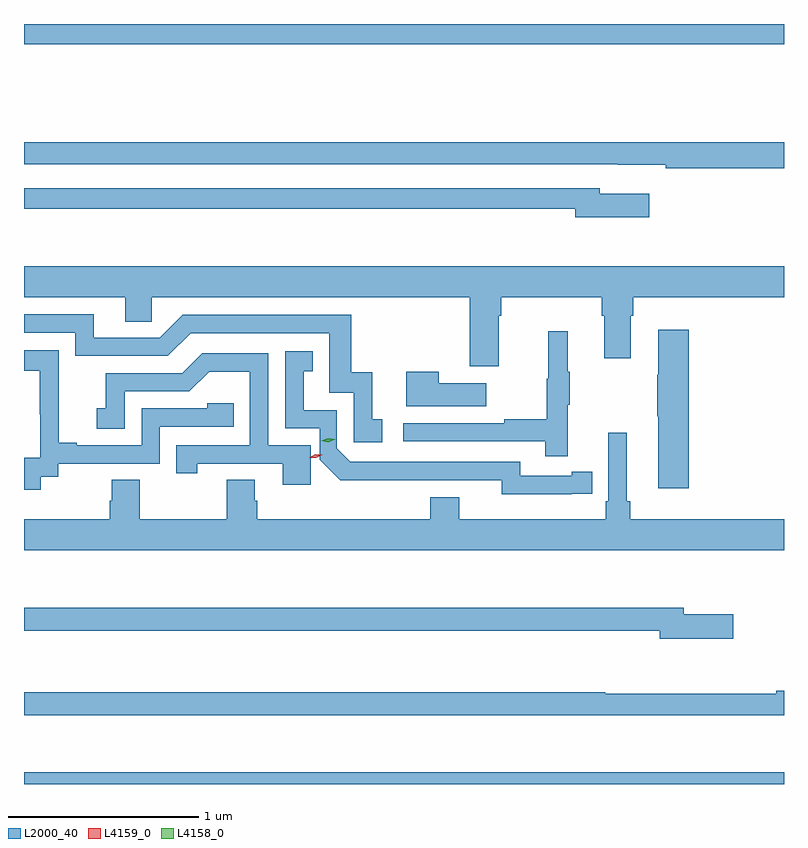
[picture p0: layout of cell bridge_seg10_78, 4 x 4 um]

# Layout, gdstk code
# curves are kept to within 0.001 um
import gdstk
lib = gdstk.Library(unit=1e-6, precision=1e-09)
def R(c, l, rs):  # rectangles x0, y0, x1, y1
    for r in rs: c.add(gdstk.rectangle(r[:2], r[2:], *l))
def P(c, l, *ps):  # polygons
    for p in ps: c.add(gdstk.Polygon(p, *l))
L2000_40 = (2000, 40)
L4158_0 = (4158, 0)
L4159_0 = (4159, 0)

bridge_seg10_78 = lib.new_cell('bridge_seg10_78')
R(bridge_seg10_78, L2000_40, [(676.151,1264.455,680.151,1264.516), (676.151,1268.348,680.151,1268.455)])
P(bridge_seg10_78, L2000_40, [(680.151,1267.832),(676.151,1267.832),(676.151,1267.716),(679.276,1267.716),(679.276,1267.715),(679.528,1267.715),(679.528,1267.696),(680.151,1267.696)],
  [(679.441,1267.561),(679.18,1267.561),(679.18,1267.59),(676.151,1267.59),(676.151,1267.482),(679.052,1267.482),(679.052,1267.439),(679.441,1267.439)],
  [(678.649,1266.92),(678.662,1266.92),(678.662,1267.016),(679.193,1267.016),(679.193,1266.92),(679.205,1266.92),(679.205,1266.696),(679.345,1266.696),(679.345,1266.92),(679.358,1266.92),(679.358,1267.016),(680.151,1267.016),(680.151,1267.18),(676.151,1267.18),(676.151,1267.016),(676.685,1267.016),(676.685,1266.889),(676.824,1266.889),(676.824,1267.016),(678.497,1267.016),(678.497,1266.654),(678.649,1266.654)],
  [(678.037,1266.375),(677.984,1266.375),(677.984,1266.622),(677.873,1266.622),(677.873,1266.924),(676.986,1266.924),(676.866,1266.804),(676.519,1266.804),(676.519,1266.927),(676.151,1266.927),(676.151,1266.831),(676.422,1266.831),(676.422,1266.708),(676.908,1266.708),(677.028,1266.828),(677.757,1266.828),(677.757,1266.513),(677.886,1266.513),(677.886,1266.255),(678.037,1266.255)],
  [(679.649,1266.847),(679.49,1266.847),(679.49,1266.608),(679.483,1266.608),(679.483,1266.391),(679.49,1266.391),(679.49,1266.012),(679.649,1266.012)],
  [(679.013,1266.451),(679.024,1266.451),(679.024,1266.625),(679.013,1266.625),(679.013,1266.838),(678.91,1266.838),(678.91,1266.588),(678.903,1266.588),(678.903,1266.374),(678.679,1266.374),(678.679,1266.354),(678.147,1266.354),(678.147,1266.258),(678.895,1266.258),(678.895,1266.18),(679.013,1266.18)],
  [(676.24,1266.073),(676.332,1266.073),(676.332,1266.141),(676.866,1266.141),(676.866,1266.336),(677.255,1266.336),(677.255,1266.459),(677.115,1266.459),(677.115,1266.432),(676.77,1266.432),(676.77,1266.237),(676.429,1266.237),(676.429,1266.25),(676.334,1266.25),(676.334,1266.533),(676.335,1266.533),(676.335,1266.739),(676.151,1266.739),(676.151,1266.629),(676.235,1266.629),(676.235,1266.401),(676.236,1266.401),(676.236,1266.171),(676.151,1266.171),(676.151,1266.003),(676.24,1266.003)],
  [(679.034,1265.982),(679.142,1265.982),(679.142,1266.098),(679.034,1266.098),(679.034,1266.078),(678.762,1266.078),(678.762,1266.15),(677.868,1266.15),(677.796,1266.222),(677.796,1266.423),(677.623,1266.423),(677.623,1266.627),(677.672,1266.627),(677.672,1266.733),(677.526,1266.733),(677.526,1266.327),(677.708,1266.327),(677.708,1266.161),(677.816,1266.053),(678.666,1266.054),(678.666,1265.981)],
  [(677.659,1266.237),(677.436,1266.237),(677.436,1266.723),(677.09,1266.723),(676.985,1266.618),(676.582,1266.618),(676.582,1266.433),(676.533,1266.433),(676.533,1266.324),(676.68,1266.324),(676.68,1266.522),(677.022,1266.522),(677.126,1266.626),(677.34,1266.626),(677.34,1266.237),(676.951,1266.237),(676.951,1266.09),(677.062,1266.09),(677.062,1266.141),(677.513,1266.141),(677.513,1266.03),(677.659,1266.03)],
  [(678.583,1266.565),(678.335,1266.565),(678.335,1266.625),(678.164,1266.625),(678.164,1266.443),(678.583,1266.443)],
  [(680.151,1265.848),(679.343,1265.848),(679.343,1265.944),(679.324,1265.944),(679.324,1266.304),(679.227,1266.304),(679.227,1265.944),(679.214,1265.944),(679.214,1265.848),(678.442,1265.848),(678.442,1265.965),(678.29,1265.965),(678.29,1265.848),(677.378,1265.848),(677.378,1265.946),(677.365,1265.946),(677.365,1266.056),(677.218,1266.056),(677.218,1265.848),(676.761,1265.848),(676.761,1266.056),(676.613,1266.056),(676.613,1265.946),(676.601,1265.946),(676.601,1265.848),(676.151,1265.848),(676.151,1265.684),(680.151,1265.684)],
  [(679.885,1265.349),(679.624,1265.349),(679.624,1265.383),(676.151,1265.383),(676.151,1265.262),(679.496,1265.262),(679.496,1265.219),(679.885,1265.219)],
  [(680.151,1264.946),(680.11,1264.946),(680.11,1264.931),(679.21,1264.931),(679.21,1264.939),(676.151,1264.939),(676.151,1264.818),(680.151,1264.818)])
P(bridge_seg10_78, L4158_0, [(677.753,1266.255),(677.716,1266.261),(677.716,1266.261),(677.716,1266.261),(677.751,1266.275),(677.788,1266.269),(677.788,1266.269),(677.788,1266.269)])
P(bridge_seg10_78, L4159_0, [(677.688,1266.171),(677.652,1266.172),(677.652,1266.172),(677.652,1266.173),(677.684,1266.191),(677.72,1266.189),(677.72,1266.189),(677.72,1266.189)])

lib.write_gds('bridge_seg10_78.gds')
